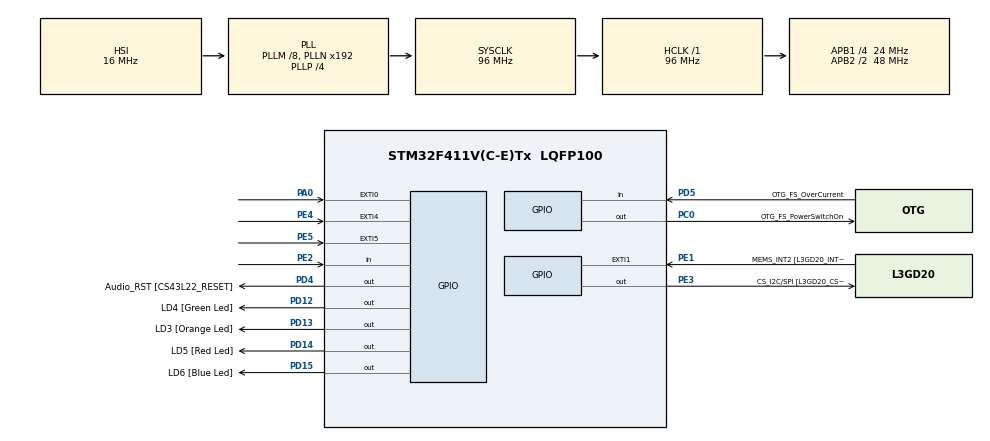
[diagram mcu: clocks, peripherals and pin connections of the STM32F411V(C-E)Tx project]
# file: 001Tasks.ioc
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ADC1.Channel-0\#ChannelRegularConversion=ADC_CHANNEL_TEMPSENSOR
ADC1.ContinuousConvMode=ENABLE
ADC1.NbrOfConversionFlag=1
ADC1.Rank-0\#ChannelRegularConversion=1
ADC1.SamplingTime-0\#ChannelRegularConversion=ADC_SAMPLETIME_3CYCLES
ADC1.master=1
Mcu.Family=STM32F4
Mcu.Name=STM32F411V(C-E)Tx
Mcu.Package=LQFP100
NVIC.ADC_IRQn=true\:9\:0\:true\:false\:true\:true\:true\:true
NVIC.PriorityGroup=NVIC_PRIORITYGROUP_4
NVIC.TIM5_IRQn=true\:0\:0\:false\:false\:true\:false\:true\:true
NVIC.TimeBase=TIM5_IRQn
NVIC.TimeBaseIP=TIM5
PA0-WKUP.GPIO_ModeDefaultEXTI=GPIO_MODE_EVT_RISING
PA0-WKUP.Signal=GPXTI0
PA10.GPIO_Label=OTG_FS_ID
PA10.Signal=USB_OTG_FS_ID
PA11.GPIO_Label=OTG_FS_DM
PA11.Signal=USB_OTG_FS_DM
PA12.GPIO_Label=OTG_FS_DP
PA12.Signal=USB_OTG_FS_DP
PA13.GPIO_Label=SWDIO
PA13.Signal=SYS_JTMS-SWDIO
PA14.GPIO_Label=SWCLK
PA14.Signal=SYS_JTCK-SWCLK
PA4.GPIO_Label=I2S3_WS [CS43L22_LRCK]
PA4.GPIO_Mode=GPIO_MODE_AF_PP
PA4.GPIO_PuPd=GPIO_NOPULL
PA4.GPIO_Speed=GPIO_SPEED_FREQ_LOW
PA4.Signal=I2S3_WS
PA5.GPIO_Label=SPI1_SCK [L3GD20_SC/SPC]
PA5.Signal=SPI1_SCK
PA6.GPIO_Label=SPI1_MISO [L3GD20_AS0/SDO]
PA6.Signal=SPI1_MISO
PA7.GPIO_Label=SPI1_MOSI [L3GD20_SDA/SDI/SDO]
PA7.Signal=SPI1_MOSI
PA9.GPIO_Label=VBUS_FS
PA9.Signal=USB_OTG_FS_VBUS
PB10.GPIO_Label=CLK_IN [MP45DT02_CLK]
PB10.Signal=I2S2_CK
PB12.Signal=I2S2_WS
PB3.GPIO_Label=SWO
PB3.Signal=SYS_JTDO-SWO
PB6.GPIO_Label=Audio_SCL [CS43L22_SCL]
PB6.GPIO_Mode=GPIO_MODE_AF_OD
PB6.GPIO_PuPd=GPIO_NOPULL
PB6.GPIO_Speed=GPIO_SPEED_FREQ_LOW
PB6.Signal=I2C1_SCL
PB9.GPIO_Label=Audio_SDA [CS43L22_SDA]
PB9.GPIO_Mode=GPIO_MODE_AF_OD
PB9.GPIO_PuPd=GPIO_NOPULL
PB9.GPIO_Speed=GPIO_SPEED_FREQ_LOW
PB9.Signal=I2C1_SDA
PC0.GPIO_Label=OTG_FS_PowerSwitchOn
PC0.PinState=GPIO_PIN_SET
PC0.Signal=GPIO_Output
PC10.GPIO_Label=I2S3_SCK [CS43L22_SCLK]
PC10.GPIO_Mode=GPIO_MODE_AF_PP
PC10.GPIO_PuPd=GPIO_NOPULL
PC10.GPIO_Speed=GPIO_SPEED_FREQ_LOW
PC10.Signal=I2S3_CK
PC12.GPIO_Label=I2S3_SD [CS43L22_SDIN]
PC12.GPIO_Mode=GPIO_MODE_AF_PP
PC12.GPIO_PuPd=GPIO_NOPULL
PC12.GPIO_Speed=GPIO_SPEED_FREQ_LOW
PC12.Signal=I2S3_SD
PC14-OSC32_IN.GPIO_Label=PC14-OSC32_IN
PC14-OSC32_IN.Signal=RCC_OSC32_IN
PC15-OSC32_OUT.GPIO_Label=PC15-OSC32_OUT
PC15-OSC32_OUT.Signal=RCC_OSC32_OUT
PC3.GPIO_Label=PDM_OUT [MP45DT02_DOUT]
PC3.Signal=I2S2_SD
PC7.GPIO_Label=I2S3_MCK [CS43L22_MCLK]
PC7.GPIO_Mode=GPIO_MODE_AF_PP
PC7.GPIO_PuPd=GPIO_NOPULL
PC7.GPIO_Speed=GPIO_SPEED_FREQ_LOW
PC7.Signal=I2S3_MCK
PD12.GPIO_Label=LD4 [Green Led]
PD12.GPIO_PuPd=GPIO_NOPULL
PD12.GPIO_Speed=GPIO_SPEED_FREQ_LOW
PD12.Signal=GPIO_Output
PD13.GPIO_Label=LD3 [Orange Led]
PD13.GPIO_PuPd=GPIO_NOPULL
PD13.GPIO_Speed=GPIO_SPEED_FREQ_LOW
PD13.Signal=GPIO_Output
PD14.GPIO_Label=LD5 [Red Led]
PD14.GPIO_PuPd=GPIO_NOPULL
PD14.GPIO_Speed=GPIO_SPEED_FREQ_LOW
PD14.Signal=GPIO_Output
PD15.GPIO_Label=LD6 [Blue Led]
PD15.GPIO_PuPd=GPIO_NOPULL
PD15.GPIO_Speed=GPIO_SPEED_FREQ_LOW
PD15.Signal=GPIO_Output
PD4.GPIO_Label=Audio_RST [CS43L22_RESET]
PD4.Signal=GPIO_Output
PD5.GPIO_Label=OTG_FS_OverCurrent
PD5.Signal=GPIO_Input
PE1.GPIO_Label=MEMS_INT2 [L3GD20_INT2]
PE1.GPIO_ModeDefaultEXTI=GPIO_MODE_EVT_RISING
PE1.Signal=GPXTI1
PE2.Signal=GPIO_Input
PE3.GPIO_Label=CS_I2C/SPI [L3GD20_CS_I2C/SPI]
PE3.Signal=GPIO_Output
PE4.GPIO_ModeDefaultEXTI=GPIO_MODE_EVT_RISING
PE4.Signal=GPXTI4
PE5.GPIO_ModeDefaultEXTI=GPIO_MODE_EVT_RISING
PE5.Signal=GPXTI5
PH0\ -\ OSC_IN.GPIO_Label=PH0-OSC_IN
PH0\ -\ OSC_IN.Signal=RCC_OSC_IN
PH1\ -\ OSC_OUT.GPIO_Label=PH1-OSC_OUT
PH1\ -\ OSC_OUT.Signal=RCC_OSC_OUT
ProjectManager.HeapSize=0x200
ProjectManager.StackSize=0x400
ProjectManager.TargetToolchain=STM32CubeIDE
RCC.48MHZClocksFreq_Value=48000000
RCC.AHBFreq_Value=96000000
RCC.APB1CLKDivider=RCC_HCLK_DIV4
RCC.APB1Freq_Value=24000000
RCC.APB1TimFreq_Value=48000000
RCC.APB2CLKDivider=RCC_HCLK_DIV2
RCC.APB2Freq_Value=48000000
RCC.APB2TimFreq_Value=96000000
RCC.CortexFreq_Value=96000000
RCC.HCLKFreq_Value=96000000
RCC.HSE_VALUE=8000000
RCC.HSI_VALUE=16000000
RCC.LSE_VALUE=32768
RCC.PLLI2SM=5
RCC.PLLI2SN=200
RCC.PLLM=8
RCC.PLLP=RCC_PLLP_DIV4
RCC.PLLQ=8
RCC.SYSCLKFreq_VALUE=96000000
RCC.SYSCLKSource=RCC_SYSCLKSOURCE_PLLCLK
RCC.VCOOutputFreq_Value=384000000
VP_ADC1_TempSens_Input.Mode=IN-TempSens
VP_ADC1_Vref_Input.Mode=IN-Vrefint
VP_SYS_VS_tim5.Mode=TIM5
board=STM32F411E-DISCO

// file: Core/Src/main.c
/* USER CODE BEGIN Header */
/**
  ******************************************************************************
  * @file           : main.c
  * @brief          : Main program body
  ******************************************************************************
  * @attention
  *
  * Copyright (c) 2022 STMicroelectronics.
  * All rights reserved.
  *
  * This software is licensed under terms that can be found in the LICENSE file
  * in the root directory of this software component.
  * If no LICENSE file comes with this software, it is provided AS-IS.
  *
  ******************************************************************************
  */
/* USER CODE END Header */
#include "main.h"

/* USER CODE BEGIN Includes */
#include "FreeRTOS.h"
#include "task.h"
#include <stdio.h>
#include <stdlib.h>
#include "semphr.h"
#include "my-queue.h"
#include <time.h>

/* USER CODE END Includes */

/* USER CODE BEGIN PD */
#define LONG_TIME 0xffff
//#define pdTRUE	1
//#define pdFALSE 0
/* USER CODE END PD */

ADC_HandleTypeDef hadc1;

/* USER CODE BEGIN PV */
uint32_t adc_count;
SemaphoreHandle_t xSemaphore = NULL;
SemaphoreHandle_t xCountingSemaphore = NULL;
SemaphoreHandle_t xBinarySemaphore = NULL;
my_queue_handle_t my_queue = NULL;

/* USER CODE END PV */

void SystemClock_Config(void);
static void MX_GPIO_Init(void);
static void MX_ADC1_Init(void);
/* USER CODE BEGIN PFP */
static void task1_ADC_handler(void*);
static void task2_publisher(void*);
static void task3_consumer(void*);
/* USER CODE END PFP */

int main(void)
{
  /* USER CODE BEGIN 1 */
  TaskHandle_t task1_handle;	// Internal temperature sensor reading handler from ADC IRQ using binary semaphore
  TaskHandle_t task2_publisher_handle, task3_consumer_handle;	//Publisher -consumer using Counting semaphore

  BaseType_t status;

  /* USER CODE END 1 */

  /* MCU Configuration--------------------------------------------------------*/

  /* Reset of all peripherals, Initializes the Flash interface and the Systick. */
  HAL_Init();

  /* Configure the system clock */
  SystemClock_Config();

  /* Initialize all configured peripherals */
  MX_GPIO_Init();
  MX_ADC1_Init();
  /* USER CODE BEGIN 2 */

  status = xTaskCreate( task1_ADC_handler,
                          "Task-1",
                          200,
                          "This is ADC count handler task",
                          3,
                          &task1_handle);
  configASSERT(status == pdPASS);

  status = xTaskCreate( task2_publisher,
                          "Publisher Task",
                          250,
						  NULL,
                          2,
                          &task2_publisher_handle);
  configASSERT(status == pdPASS);

  status = xTaskCreate( task3_consumer,
                          "Consumer Task",
                          250,
						  NULL,
                          2,
                          &task3_consumer_handle);
  configASSERT(status == pdPASS);

  srand(time(0));
  xBinarySemaphore = xSemaphoreCreateBinary();
  if(xBinarySemaphore != NULL)
  {
	  xSemaphoreGive(xBinarySemaphore);
  }
  else
  {
	  printf("Error creating Binary semaphore\n");
	  while(1){};
  }
  // start the FreeRTOS scheduler
  vTaskStartScheduler();

  // if the control comes here that indicates some failure has occured

  /* USER CODE END 2 */

  /* Infinite loop */
  while (1)
  {

  }
}

void SystemClock_Config(void)
{
  RCC_OscInitTypeDef RCC_OscInitStruct = {0};
  RCC_ClkInitTypeDef RCC_ClkInitStruct = {0};

  /** Configure the main internal regulator output voltage
  */
  __HAL_RCC_PWR_CLK_ENABLE();
  __HAL_PWR_VOLTAGESCALING_CONFIG(PWR_REGULATOR_VOLTAGE_SCALE1);

  /** Initializes the RCC Oscillators according to the specified parameters
  * in the RCC_OscInitTypeDef structure.
  */
  RCC_OscInitStruct.OscillatorType = RCC_OSCILLATORTYPE_HSI;
  RCC_OscInitStruct.HSIState = RCC_HSI_ON;
  RCC_OscInitStruct.HSICalibrationValue = RCC_HSICALIBRATION_DEFAULT;
  RCC_OscInitStruct.PLL.PLLState = RCC_PLL_ON;
  RCC_OscInitStruct.PLL.PLLSource = RCC_PLLSOURCE_HSI;
  RCC_OscInitStruct.PLL.PLLM = 8;
  RCC_OscInitStruct.PLL.PLLN = 192;
  RCC_OscInitStruct.PLL.PLLP = RCC_PLLP_DIV4;
  RCC_OscInitStruct.PLL.PLLQ = 8;
  if (HAL_RCC_OscConfig(&RCC_OscInitStruct) != HAL_OK)
  {
    Error_Handler();
  }

  /** Initializes the CPU, AHB and APB buses clocks
  */
  RCC_ClkInitStruct.ClockType = RCC_CLOCKTYPE_HCLK|RCC_CLOCKTYPE_SYSCLK
                              |RCC_CLOCKTYPE_PCLK1|RCC_CLOCKTYPE_PCLK2;
  RCC_ClkInitStruct.SYSCLKSource = RCC_SYSCLKSOURCE_PLLCLK;
  RCC_ClkInitStruct.AHBCLKDivider = RCC_SYSCLK_DIV1;
  RCC_ClkInitStruct.APB1CLKDivider = RCC_HCLK_DIV4;
  RCC_ClkInitStruct.APB2CLKDivider = RCC_HCLK_DIV2;

  if (HAL_RCC_ClockConfig(&RCC_ClkInitStruct, FLASH_LATENCY_3) != HAL_OK)
  {
    Error_Handler();
  }
}

static void MX_ADC1_Init(void)
{

  ADC_ChannelConfTypeDef sConfig = {0};

  /** Configure the global features of the ADC (Clock, Resolution, Data Alignment and number of conversion)
  */
  hadc1.Instance = ADC1;
  hadc1.Init.ClockPrescaler = ADC_CLOCK_SYNC_PCLK_DIV2;
  hadc1.Init.Resolution = ADC_RESOLUTION_12B;
  hadc1.Init.ScanConvMode = DISABLE;
  hadc1.Init.ContinuousConvMode = ENABLE;
  hadc1.Init.DiscontinuousConvMode = DISABLE;
  hadc1.Init.ExternalTrigConvEdge = ADC_EXTERNALTRIGCONVEDGE_NONE;
  hadc1.Init.ExternalTrigConv = ADC_SOFTWARE_START;
  hadc1.Init.DataAlign = ADC_DATAALIGN_RIGHT;
  hadc1.Init.NbrOfConversion = 1;
  hadc1.Init.DMAContinuousRequests = DISABLE;
  hadc1.Init.EOCSelection = ADC_EOC_SINGLE_CONV;
  if (HAL_ADC_Init(&hadc1) != HAL_OK)
  {
    Error_Handler();
  }

  /** Configure for the selected ADC regular channel its corresponding rank in the sequencer and its sample time.
  */
  sConfig.Channel = ADC_CHANNEL_TEMPSENSOR;
  sConfig.Rank = 1;
  sConfig.SamplingTime = ADC_SAMPLETIME_3CYCLES;
  if (HAL_ADC_ConfigChannel(&hadc1, &sConfig) != HAL_OK)
  {
    Error_Handler();
  }
  /* USER CODE BEGIN ADC1_Init 2 */
  if(HAL_ADC_Start_IT(&hadc1) != HAL_OK)
  {
	  Error_Handler();
  }
  /* USER CODE END ADC1_Init 2 */

}

static void MX_GPIO_Init(void)
{
  GPIO_InitTypeDef GPIO_InitStruct = {0};

  /* GPIO Ports Clock Enable */
  __HAL_RCC_GPIOE_CLK_ENABLE();
  __HAL_RCC_GPIOC_CLK_ENABLE();
  __HAL_RCC_GPIOH_CLK_ENABLE();
  __HAL_RCC_GPIOA_CLK_ENABLE();
  __HAL_RCC_GPIOB_CLK_ENABLE();
  __HAL_RCC_GPIOD_CLK_ENABLE();

  /*Configure GPIO pin Output Level */
  HAL_GPIO_WritePin(CS_I2C_SPI_GPIO_Port, CS_I2C_SPI_Pin, GPIO_PIN_RESET);

  /*Configure GPIO pin Output Level */
  HAL_GPIO_WritePin(OTG_FS_PowerSwitchOn_GPIO_Port, OTG_FS_PowerSwitchOn_Pin, GPIO_PIN_SET);

  /*Configure GPIO pin Output Level */
  HAL_GPIO_WritePin(GPIOD, LD4_Pin|LD3_Pin|LD5_Pin|LD6_Pin
                          |Audio_RST_Pin, GPIO_PIN_RESET);

  /*Configure GPIO pin : PE2 */
  GPIO_InitStruct.Pin = GPIO_PIN_2;
  GPIO_InitStruct.Mode = GPIO_MODE_INPUT;
  GPIO_InitStruct.Pull = GPIO_NOPULL;
  HAL_GPIO_Init(GPIOE, &GPIO_InitStruct);

  /*Configure GPIO pin : CS_I2C_SPI_Pin */
  GPIO_InitStruct.Pin = CS_I2C_SPI_Pin;
  GPIO_InitStruct.Mode = GPIO_MODE_OUTPUT_PP;
  GPIO_InitStruct.Pull = GPIO_NOPULL;
  GPIO_InitStruct.Speed = GPIO_SPEED_FREQ_LOW;
  HAL_GPIO_Init(CS_I2C_SPI_GPIO_Port, &GPIO_InitStruct);

  /*Configure GPIO pins : PE4 PE5 MEMS_INT2_Pin */
  GPIO_InitStruct.Pin = GPIO_PIN_4|GPIO_PIN_5|MEMS_INT2_Pin;
  GPIO_InitStruct.Mode = GPIO_MODE_EVT_RISING;
  GPIO_InitStruct.Pull = GPIO_NOPULL;
  HAL_GPIO_Init(GPIOE, &GPIO_InitStruct);

  /*Configure GPIO pin : OTG_FS_PowerSwitchOn_Pin */
  GPIO_InitStruct.Pin = OTG_FS_PowerSwitchOn_Pin;
  GPIO_InitStruct.Mode = GPIO_MODE_OUTPUT_PP;
  GPIO_InitStruct.Pull = GPIO_NOPULL;
  GPIO_InitStruct.Speed = GPIO_SPEED_FREQ_LOW;
  HAL_GPIO_Init(OTG_FS_PowerSwitchOn_GPIO_Port, &GPIO_InitStruct);

  /*Configure GPIO pin : PDM_OUT_Pin */
  GPIO_InitStruct.Pin = PDM_OUT_Pin;
  GPIO_InitStruct.Mode = GPIO_MODE_AF_PP;
  GPIO_InitStruct.Pull = GPIO_NOPULL;
  GPIO_InitStruct.Speed = GPIO_SPEED_FREQ_LOW;
  GPIO_InitStruct.Alternate = GPIO_AF5_SPI2;
  HAL_GPIO_Init(PDM_OUT_GPIO_Port, &GPIO_InitStruct);

  /*Configure GPIO pin : PA0 */
  GPIO_InitStruct.Pin = GPIO_PIN_0;
  GPIO_InitStruct.Mode = GPIO_MODE_EVT_RISING;
  GPIO_InitStruct.Pull = GPIO_NOPULL;
  HAL_GPIO_Init(GPIOA, &GPIO_InitStruct);

  /*Configure GPIO pin : I2S3_WS_Pin */
  GPIO_InitStruct.Pin = I2S3_WS_Pin;
  GPIO_InitStruct.Mode = GPIO_MODE_AF_PP;
  GPIO_InitStruct.Pull = GPIO_NOPULL;
  GPIO_InitStruct.Speed = GPIO_SPEED_FREQ_LOW;
  GPIO_InitStruct.Alternate = GPIO_AF6_SPI3;
  HAL_GPIO_Init(I2S3_WS_GPIO_Port, &GPIO_InitStruct);

  /*Configure GPIO pins : SPI1_SCK_Pin SPI1_MISO_Pin SPI1_MOSI_Pin */
  GPIO_InitStruct.Pin = SPI1_SCK_Pin|SPI1_MISO_Pin|SPI1_MOSI_Pin;
  GPIO_InitStruct.Mode = GPIO_MODE_AF_PP;
  GPIO_InitStruct.Pull = GPIO_NOPULL;
  GPIO_InitStruct.Speed = GPIO_SPEED_FREQ_VERY_HIGH;
  GPIO_InitStruct.Alternate = GPIO_AF5_SPI1;
  HAL_GPIO_Init(GPIOA, &GPIO_InitStruct);

  /*Configure GPIO pins : CLK_IN_Pin PB12 */
  GPIO_InitStruct.Pin = CLK_IN_Pin|GPIO_PIN_12;
  GPIO_InitStruct.Mode = GPIO_MODE_AF_PP;
  GPIO_InitStruct.Pull = GPIO_NOPULL;
  GPIO_InitStruct.Speed = GPIO_SPEED_FREQ_LOW;
  GPIO_InitStruct.Alternate = GPIO_AF5_SPI2;
  HAL_GPIO_Init(GPIOB, &GPIO_InitStruct);

  /*Configure GPIO pins : LD4_Pin LD3_Pin LD5_Pin LD6_Pin
                           Audio_RST_Pin */
  GPIO_InitStruct.Pin = LD4_Pin|LD3_Pin|LD5_Pin|LD6_Pin
                          |Audio_RST_Pin;
  GPIO_InitStruct.Mode = GPIO_MODE_OUTPUT_PP;
  GPIO_InitStruct.Pull = GPIO_NOPULL;
  GPIO_InitStruct.Speed = GPIO_SPEED_FREQ_LOW;
  HAL_GPIO_Init(GPIOD, &GPIO_InitStruct);

  /*Configure GPIO pins : I2S3_MCK_Pin I2S3_SCK_Pin I2S3_SD_Pin */
  GPIO_InitStruct.Pin = I2S3_MCK_Pin|I2S3_SCK_Pin|I2S3_SD_Pin;
  GPIO_InitStruct.Mode = GPIO_MODE_AF_PP;
  GPIO_InitStruct.Pull = GPIO_NOPULL;
  GPIO_InitStruct.Speed = GPIO_SPEED_FREQ_LOW;
  GPIO_InitStruct.Alternate = GPIO_AF6_SPI3;
  HAL_GPIO_Init(GPIOC, &GPIO_InitStruct);

  /*Configure GPIO pin : VBUS_FS_Pin */
  GPIO_InitStruct.Pin = VBUS_FS_Pin;
  GPIO_InitStruct.Mode = GPIO_MODE_INPUT;
  GPIO_InitStruct.Pull = GPIO_NOPULL;
  HAL_GPIO_Init(VBUS_FS_GPIO_Port, &GPIO_InitStruct);

  /*Configure GPIO pins : OTG_FS_ID_Pin OTG_FS_DM_Pin OTG_FS_DP_Pin */
  GPIO_InitStruct.Pin = OTG_FS_ID_Pin|OTG_FS_DM_Pin|OTG_FS_DP_Pin;
  GPIO_InitStruct.Mode = GPIO_MODE_AF_PP;
  GPIO_InitStruct.Pull = GPIO_NOPULL;
  GPIO_InitStruct.Speed = GPIO_SPEED_FREQ_VERY_HIGH;
  GPIO_InitStruct.Alternate = GPIO_AF10_OTG_FS;
  HAL_GPIO_Init(GPIOA, &GPIO_InitStruct);

  /*Configure GPIO pin : OTG_FS_OverCurrent_Pin */
  GPIO_InitStruct.Pin = OTG_FS_OverCurrent_Pin;
  GPIO_InitStruct.Mode = GPIO_MODE_INPUT;
  GPIO_InitStruct.Pull = GPIO_NOPULL;
  HAL_GPIO_Init(OTG_FS_OverCurrent_GPIO_Port, &GPIO_InitStruct);

  /*Configure GPIO pins : Audio_SCL_Pin Audio_SDA_Pin */
  GPIO_InitStruct.Pin = Audio_SCL_Pin|Audio_SDA_Pin;
  GPIO_InitStruct.Mode = GPIO_MODE_AF_OD;
  GPIO_InitStruct.Pull = GPIO_NOPULL;
  GPIO_InitStruct.Speed = GPIO_SPEED_FREQ_LOW;
  GPIO_InitStruct.Alternate = GPIO_AF4_I2C1;
  HAL_GPIO_Init(GPIOB, &GPIO_InitStruct);

}

/* USER CODE BEGIN 4 */
static void task1_ADC_handler(void* parameters)
{
	xSemaphore = xSemaphoreCreateBinary();
	//xSemaphoreGive(xSemaphore);
	printf("Initial ADC value : %lu\n", adc_count);
	while(1)
	{
		if(xSemaphore != NULL)
		{
			if(xSemaphoreTake( xSemaphore, LONG_TIME))
			{
				//printf("%lu\n", adc_count);
			}
		}
	}
}

static void task2_publisher(void* parameters)
{
	(void*)parameters;
	#define queue_len 5
	my_queue = create_my_queue(queue_len);
	xCountingSemaphore = xSemaphoreCreateCounting( queue_len, 0 );
	assert(xCountingSemaphore != NULL);
	assert(my_queue != NULL);
	int temp;
	status_t status;
	while(1)
	{
		temp = rand() % 50;
		xSemaphoreTake( xBinarySemaphore, LONG_TIME);
		status = my_queue_push(my_queue, &temp, sizeof(int));

		if(status != QUEUE_SUCCESS)
		{
			printf("Push error : %d\n", status);
		}
		else
		{
			printf("Push success : %d\n", temp);
		}
		xSemaphoreGive( xBinarySemaphore);
		xSemaphoreGive( xCountingSemaphore);
	}
}

static void task3_consumer(void* parameters)
{
	(void*)parameters;
	int temp;
	status_t status;
	while(my_queue == NULL) {};
	while(1)
	{
		if(xCountingSemaphore != NULL)
		{
			if(xSemaphoreTake( xCountingSemaphore, portMAX_DELAY ))
			{
				xSemaphoreTake( xBinarySemaphore, portMAX_DELAY);
				status = my_queue_pop(my_queue, &temp, sizeof(int));

				if(status != QUEUE_SUCCESS)
				{
					printf("Pop error : %d\n", status);
				}
				else
				{
					printf("Pop success : %d\n", temp);
				}
				xSemaphoreGive( xBinarySemaphore);
			}
		}
	}
}

/* USER CODE END 4 */

void HAL_TIM_PeriodElapsedCallback(TIM_HandleTypeDef *htim)
{
  if (htim->Instance == TIM5) {
    HAL_IncTick();
  }
}

void Error_Handler(void)
{
  __disable_irq();
  while (1)
  {
  }
}
